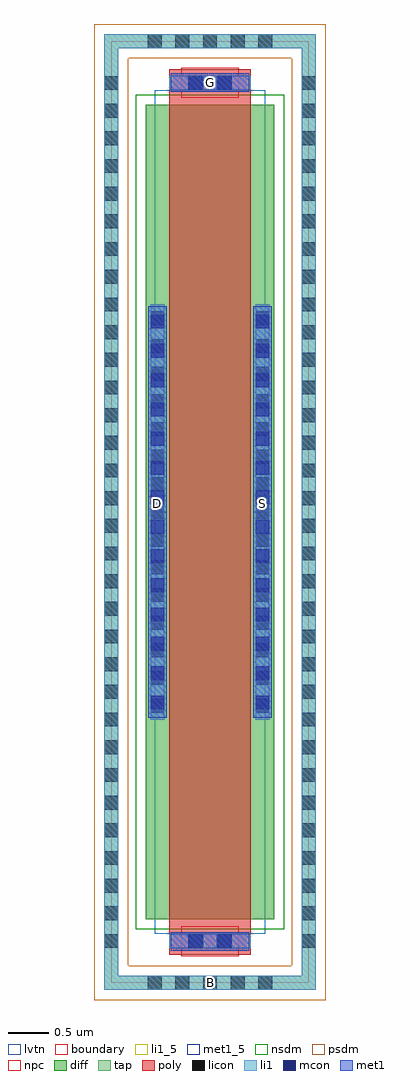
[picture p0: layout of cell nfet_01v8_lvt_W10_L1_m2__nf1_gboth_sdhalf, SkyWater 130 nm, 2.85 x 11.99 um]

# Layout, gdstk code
import gdstk
lib = gdstk.Library(unit=1e-6, precision=1e-09)
def R(c, l, rs):  # rectangles x0, y0, x1, y1
    for r in rs: c.add(gdstk.rectangle(r[:2], r[2:], *l))
def A(c, l, x, y, w, h, nx, ny, dx, dy):  # array of equal rectangles
    R(c, l, [(x+i*dx, y+j*dy, x+i*dx+w, y+j*dy+h) for i in range(nx) for j in range(ny)])
diff = (65, 20)
tap = (65, 44)
poly = (66, 20)
licon = (66, 44)
li1_5 = (67, 5)
li1 = (67, 20)
mcon = (67, 44)
met1_5 = (68, 5)
met1 = (68, 20)
nsdm = (93, 44)
psdm = (94, 20)
npc = (95, 20)
lvtn = (125, 44)
boundary = (235, 4)

sky130_fd_pr__nfet_01v8_ = lib.new_cell('sky130_fd_pr__nfet_01v8_lvt_VYJ8PD')
R(sky130_fd_pr__nfet_01v8_, diff, [(-0.79,-5,0.79,5)])
R(sky130_fd_pr__nfet_01v8_, tap, [(-1.3,-5.87,1.3,-5.7), (-1.3,-5.7,-1.13,5.7), (1.13,-5.7,1.3,5.7), (-1.3,5.7,1.3,5.87)])
R(sky130_fd_pr__nfet_01v8_, poly, [(-0.5,-5.44,0.5,5.44)])
A(sky130_fd_pr__nfet_01v8_, licon, -0.765, -5.87, 0.17, 0.17, 5, 2, 0.34, 11.57)
A(sky130_fd_pr__nfet_01v8_, licon, -1.3, -5.355, 0.17, 0.17, 1, 32, 0, 0.34)
A(sky130_fd_pr__nfet_01v8_, licon, 1.13, -5.355, 0.17, 0.17, 1, 32, 0, 0.34)
A(sky130_fd_pr__nfet_01v8_, licon, -0.73, -2.465, 0.17, 0.17, 1, 15, 0, 0.34)
A(sky130_fd_pr__nfet_01v8_, licon, 0.56, -2.465, 0.17, 0.17, 1, 15, 0, 0.34)
R(sky130_fd_pr__nfet_01v8_, licon, [(-0.255,-5.36,-0.085,-5.19), (0.085,-5.36,0.255,-5.19), (-0.255,5.19,-0.085,5.36), (0.085,5.19,0.255,5.36)])
R(sky130_fd_pr__nfet_01v8_, li1, [(-1.3,-5.87,1.3,-5.7), (-1.3,-5.7,-1.13,5.7), (1.13,-5.7,1.3,5.7), (-0.5,-5.36,0.5,-5.19), (-0.73,-2.55,-0.56,2.55), (0.56,-2.55,0.73,2.55), (-0.5,5.19,0.5,5.36), (-1.3,5.7,1.3,5.87)])
A(sky130_fd_pr__nfet_01v8_, mcon, -0.73, -2.425, 0.17, 0.17, 1, 14, 0, 0.36)
A(sky130_fd_pr__nfet_01v8_, mcon, 0.56, -2.425, 0.17, 0.17, 1, 14, 0, 0.36)
R(sky130_fd_pr__nfet_01v8_, mcon, [(-0.265,-5.36,-0.095,-5.19), (0.095,-5.36,0.265,-5.19), (-0.265,5.19,-0.095,5.36), (0.095,5.19,0.265,5.36)])
R(sky130_fd_pr__nfet_01v8_, met1, [(-0.48,-5.39,0.48,-5.16), (-0.76,-2.53,-0.53,2.53), (0.53,-2.53,0.76,2.53), (-0.48,5.16,0.48,5.39)])
R(sky130_fd_pr__nfet_01v8_, nsdm, [(-0.915,-5.125,0.915,5.125)])
R(sky130_fd_pr__nfet_01v8_, psdm, [(-1.425,-5.995,1.425,-5.575), (-1.425,-5.575,-1.005,5.575), (1.005,-5.575,1.425,5.575), (-1.425,5.575,1.425,5.995)])
R(sky130_fd_pr__nfet_01v8_, npc, [(-0.355,-5.46,0.355,-5.09), (-0.355,5.09,0.355,5.46)])
R(sky130_fd_pr__nfet_01v8_, lvtn, [(-0.68,-5.18,0.68,5.18)])
R(sky130_fd_pr__nfet_01v8_, boundary, [(-1.215,-5.785,1.215,5.785)])
sky130_fd_pr__nfet_01v8_.add(gdstk.Label('B', (0,-5.785), layer=67, texttype=5))
sky130_fd_pr__nfet_01v8_.add(gdstk.Label('D', (-0.645,0), layer=67, texttype=5))
sky130_fd_pr__nfet_01v8_.add(gdstk.Label('S', (0.645,0), layer=67, texttype=5))
sky130_fd_pr__nfet_01v8_.add(gdstk.Label('G', (0,5.275), layer=67, texttype=5))

nfet_01v8_lvt_w10_l1_m2_ = lib.new_cell('nfet_01v8_lvt_W10_L1_m2__nf1_gboth_sdhalf')
R(nfet_01v8_lvt_w10_l1_m2_, li1_5, [(1.13,-0.085,1.3,0.085)])
R(nfet_01v8_lvt_w10_l1_m2_, li1, [(1.13,-0.085,1.3,0.085)])
R(nfet_01v8_lvt_w10_l1_m2_, met1_5, [(0.455,5.785,0.685,5.985), (1.745,5.785,1.975,5.985), (0.735,10.945,1.695,11.175)])
R(nfet_01v8_lvt_w10_l1_m2_, met1, [(0.455,5.785,0.685,5.985), (1.745,5.785,1.975,5.985), (0.735,10.945,1.695,11.175)])
nfet_01v8_lvt_w10_l1_m2_.add(gdstk.Reference(sky130_fd_pr__nfet_01v8_, (1.215,5.785)))
nfet_01v8_lvt_w10_l1_m2_.add(gdstk.Label('D', (0.57,5.885), layer=68, texttype=5))
nfet_01v8_lvt_w10_l1_m2_.add(gdstk.Label('S', (1.86,5.885), layer=68, texttype=5))
nfet_01v8_lvt_w10_l1_m2_.add(gdstk.Label('G', (1.215,11.06), layer=68, texttype=5))
nfet_01v8_lvt_w10_l1_m2_.add(gdstk.Label('B', (1.215,0), layer=67, texttype=5))

lib.write_gds('nfet_01v8_lvt_W10_L1_m2__nf1_gboth_sdhalf.gds')
